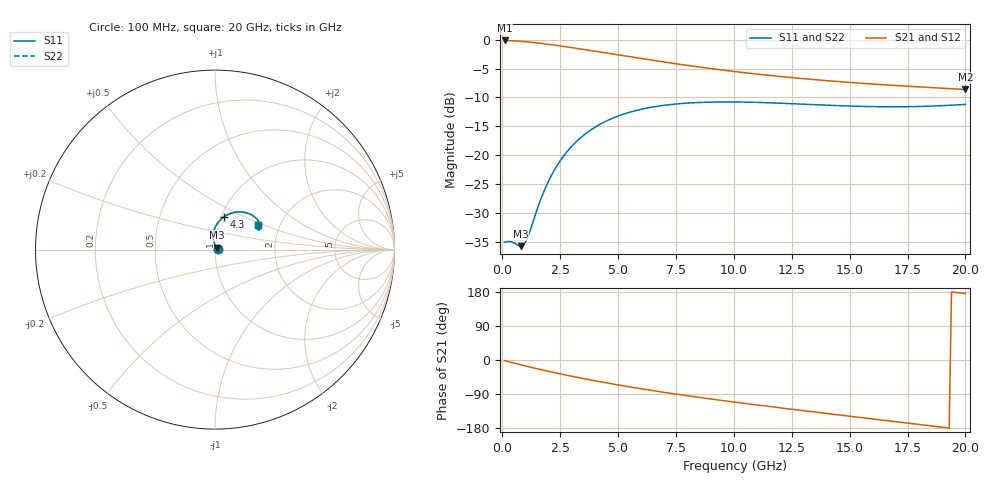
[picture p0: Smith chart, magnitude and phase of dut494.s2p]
! Touchstone file exported from HFSS 2024.1.0
!  File:  C:/UserFiles/LocalFiles/RDL_TSV_Batchsim/temp_RDL_TSV_494_1779735843.aedt
!  Generated:  03:20:23 AM May 26, 2026
!  Design:  RDL_TSV
!  Project:  temp_RDL_TSV_494_1779735843
!  Setup:  Setup1
!  Solution:  Sweep
! Variables:
!  dtsv = 8.03um
!  hbump = 3um
!  htsv = 85.77um
!  ldown = 632.57um
!  lrdl = 140.15um
!  p = 40
!  p1 = 49.29um
!  rhole = 10um
!  subl = 2458.31um
!  t = 450um
!  tdown = 2.2um
!  trdl = 3.27um
!  viad = 10um
!  wdown = 22.71um
!  wrdl = 17.43um
!  xbump = 18um
# GHz S MA R 50.000000
! Terminal data exported
! Port[1] = TM1_1_T1
! Port[2] = TM1_4_T1
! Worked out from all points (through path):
!   200 points, 100 MHz to 20 GHz, reference 50 ohm
!   highest |S21| = -0.16 dB at 100 MHz (marker M1); lowest = -8.6 dB at 20 GHz (marker M2)
!   group delay of S21, straight-line fit = 24.1 ps
!   lowest |S11| = -35.7 dB at 800 MHz (marker M3), VSWR 1.03, Z = 51.2 + j1.18 ohm
!   |S11| at or under -10 dB: start of sweep to end of sweep
!   |S22| runs from -35.7 to -10.8 dB; largest |S21 - S12| = 2.2e-14
!   S11 on the Smith chart (normalised r, x): 100 MHz: 1.04, +0.00; 4.3 GHz: 1.03, +0.39; 20 GHz: 1.55, +0.46
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0.1  0.01787 5.1  0.9818 -1.6  0.9818 -1.6  0.01787 5.1
! Gamma 0 0 0 0
! Port Impedance 50 0 50 0
0.4  0.01795 18.2  0.9769 -6.5  0.9769 -6.5  0.01795 18.2
0.8  0.01648 44.5  0.9653 -12.7  0.9653 -12.7  0.01648 44.5
0.9  0.01683 54.4  0.9617 -14.2  0.9617 -14.2  0.01683 54.4
1  0.01789 64.5  0.9578 -15.7  0.9578 -15.7  0.01789 64.5
1.1  0.01976 73.8  0.9537 -17.2  0.9537 -17.2  0.01977 73.8
1.7  0.04378 98.5  0.9249 -25.9  0.9249 -25.9  0.04381 98.5
1.9  0.05457 99.5  0.9142 -28.6  0.9142 -28.6  0.0546 99.5
2.2  0.0719 98.6  0.8975 -32.7  0.8975 -32.7  0.07195 98.6
2.5  0.08992 96.1  0.8803 -36.6  0.8803 -36.6  0.08998 96.1
2.8  0.1081 92.9  0.8629 -40.5  0.8629 -40.5  0.1081 92.9
3.5  0.1487 84.3  0.8221 -49.0  0.8221 -49.0  0.1488 84.3
4.3  0.1894 74.6  0.7763 -58.2  0.7763 -58.2  0.1895 74.6
5.4  0.2327 62.7  0.7166 -69.9  0.7166 -69.9  0.2328 62.7
6.8  0.2674 50.4  0.6484 -83.6  0.6484 -83.6  0.2676 50.4
8.4  0.2858 39.7  0.5829 -97.8  0.5829 -97.8  0.286 39.7
10.1  0.2891 31.8  0.5274 -111.7  0.5274 -111.7  0.2893 31.8
11.7  0.2838 27.0  0.4864 -124.0  0.4864 -124.0  0.2839 27.0
13.4  0.2746 24.5  0.4522 -136.6  0.4522 -136.6  0.2747 24.5
15  0.2667 24.1  0.4266 -148.3  0.4266 -148.3  0.2669 24.1
16.7  0.2628 25.5  0.4044 -160.7  0.4044 -160.7  0.2629 25.4
20  0.2756 29.6  0.3708 175.3  0.3708 175.3  0.2756 29.6
